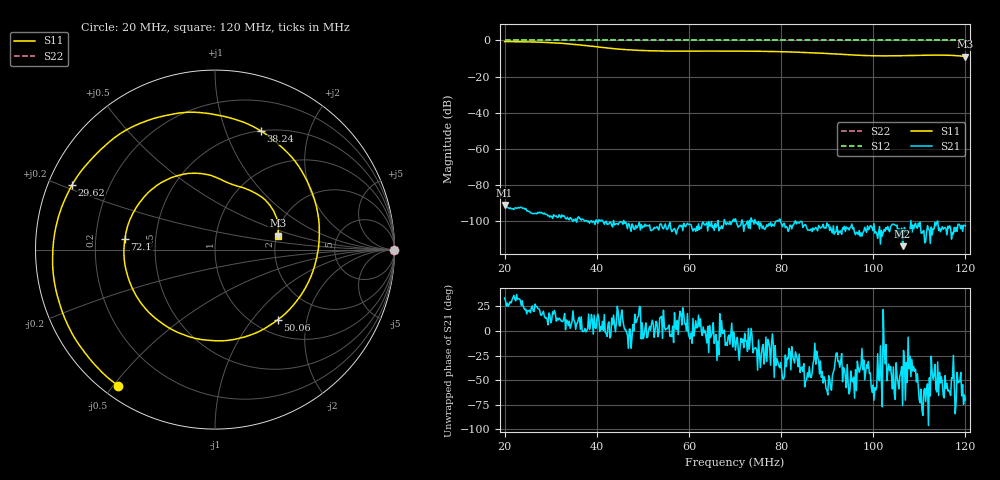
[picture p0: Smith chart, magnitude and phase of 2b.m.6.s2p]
! Anritsu VNA Master:  Model: MS2036C/10/77
! SN:  1601066
! /card0/usr/18may27.balun/252b.m6.s2p
! Existing Calibration Information:
! TYPE:  Current Settings,  Active Cal Settings
! TIME:  05/27/2018 01:16:28 PM,  05/27/2018 01:14:08 PM
! INTERNAL TEMP:  52.0 C,  52.0 C
! # POINTS:  500,  500
! START FREQ:  20.000 MHz,  20.000 MHz
! STOP FREQ:  120.000 MHz,  120.000 MHz
! SOURCE POWER:  High,  High
! IFBW:  50 Hz,  50 Hz
! AVG FACTOR:  1 ,  1
! REF PLANE 1:  0 mm,  0 mm
! REF PLANE 2:  0 mm,  0 mm
! CAL TYPE:  Full S11,  Full S11
! CAL METHOD:  SOLT,  SOLT
! CAL LINE TYPE:  Coax,  Coax
! DUT PORT 1:  K-Conn(M),  K-Conn(M)
! DUT PORT 2:  K-Conn(M),  K-Conn(M)
! CAL STATUS:  OK: Accuracy High,  --
# GHZ S DB R 50.0
! FREQ.GHZ  S11DB  S11A  S21DB  S21A  S12DB  S12A  S22DB  S22A
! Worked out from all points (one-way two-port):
!   500 points, 20 MHz to 120 MHz, reference 50 ohm
!   highest |S21| = -91.03 dB at 20 MHz (marker M1); lowest = -113.8 dB at 106.4 MHz (marker M2)
!   lowest |S11| = -8.9 dB at 120 MHz (marker M3), VSWR 2.12, Z = 102 + j18.1 ohm
!   |S11| at or under -10 dB: nowhere
!   |S22| runs from 0.0 to 0.0 dB; largest |S21 - S12| = 1
!   S11 on the Smith chart (normalised r, x): 20 MHz: 0.05, -0.51; 29.62 MHz: 0.07, +0.22; 38.24 MHz: 0.50, +1.34; 50.06 MHz: 1.26, -1.36; 72.1 MHz: 0.33, +0.05; 120 MHz: 2.03, +0.36
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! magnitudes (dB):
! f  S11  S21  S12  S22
! 20 MHz  -0.6  -91.0  0.0  0.0
! 25.81 MHz  -0.8  -95.4  0.0  0.0
! 29.62 MHz  -1.2  -96.9  0.0  0.0
! 32.83 MHz  -1.7  -96.8  0.0  0.0
! 36.83 MHz  -2.6  -98.8  0.0  0.0
! 38.24 MHz  -3.0  -99.9  0.0  0.0
! 44.65 MHz  -4.8  -101.9  0.0  0.0
! 47.05 MHz  -5.2  -101.6  0.0  0.0
! 50.06 MHz  -5.6  -102.7  0.0  0.0
! 53.47 MHz  -5.8  -104.8  0.0  0.0
! 58.28 MHz  -5.9  -102.9  0.0  0.0
! 70.1 MHz  -5.9  -98.6  0.0  0.0
! 72.1 MHz  -5.9  -102.1  0.0  0.0
! 79.92 MHz  -6.2  -100.5  0.0  0.0
! 86.73 MHz  -6.8  -105.7  0.0  0.0
! 97.76 MHz  -8.3  -106.3  0.0  0.0
! 103.4 MHz  -8.5  -105.1  0.0  0.0
! 106.4 MHz  -8.4  -113.8  0.0  0.0
! 112.4 MHz  -8.1  -112.3  0.0  0.0
! 115.2 MHz  -8.1  -104.4  0.0  0.0
! 117.6 MHz  -8.3  -103.4  0.0  0.0
! 120 MHz  -8.9  -102.5  0.0  0.0
